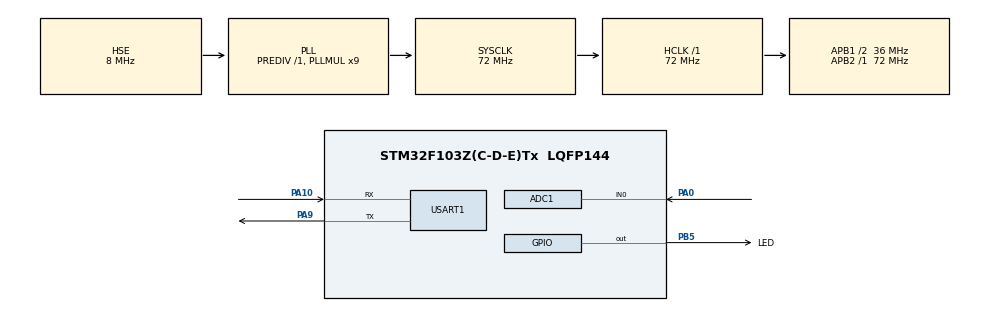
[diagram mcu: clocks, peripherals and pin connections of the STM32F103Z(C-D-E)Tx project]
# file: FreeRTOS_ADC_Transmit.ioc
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ADC1.Channel-1\#ChannelRegularConversion=ADC_CHANNEL_0
ADC1.ContinuousConvMode=ENABLE
ADC1.EnableRegularConversion=ENABLE
ADC1.NbrOfConversionFlag=1
ADC1.Rank-1\#ChannelRegularConversion=1
ADC1.SamplingTime-1\#ChannelRegularConversion=ADC_SAMPLETIME_1CYCLE_5
ADC1.master=1
FREERTOS.Queues01=Data_Queue,1,uint8_t,0,Dynamic,NULL,NULL
FREERTOS.Tasks01=defaultTask,0,128,StartDefaultTask,Default,NULL,Dynamic,NULL,NULL;ADC_Capture,-2,128,MyTask1,Default,NULL,Dynamic,NULL,NULL;Data_Trasmit,-3,128,MyTask2,Default,NULL,Dynamic,NULL,NULL
Mcu.Family=STM32F1
Mcu.Name=STM32F103Z(C-D-E)Tx
Mcu.Package=LQFP144
NVIC.PriorityGroup=NVIC_PRIORITYGROUP_4
NVIC.TIM1_UP_IRQn=true\:15\:0\:false\:false\:true\:false\:false\:true\:true
NVIC.TimeBase=TIM1_UP_IRQn
NVIC.TimeBaseIP=TIM1
NVIC.USART1_IRQn=true\:5\:0\:false\:false\:true\:true\:true\:true\:true
OSC_IN.Mode=HSE-External-Oscillator
OSC_IN.Signal=RCC_OSC_IN
OSC_OUT.Mode=HSE-External-Oscillator
OSC_OUT.Signal=RCC_OSC_OUT
PA0-WKUP.Signal=ADCx_IN0
PA10.Mode=Asynchronous
PA10.Signal=USART1_RX
PA13.Mode=Serial_Wire
PA13.Signal=SYS_JTMS-SWDIO
PA14.Mode=Serial_Wire
PA14.Signal=SYS_JTCK-SWCLK
PA9.Mode=Asynchronous
PA9.Signal=USART1_TX
PB5.GPIO_Label=LED
PB5.GPIO_Speed=GPIO_SPEED_FREQ_HIGH
PB5.PinState=GPIO_PIN_SET
PB5.Signal=GPIO_Output
ProjectManager.HeapSize=0x200
ProjectManager.StackSize=0x400
ProjectManager.TargetToolchain=MDK-ARM V5
RCC.ADCPresc=RCC_ADCPCLK2_DIV6
RCC.AHBFreq_Value=72000000
RCC.APB1CLKDivider=RCC_HCLK_DIV2
RCC.APB1Freq_Value=36000000
RCC.APB1TimFreq_Value=72000000
RCC.APB2Freq_Value=72000000
RCC.APB2TimFreq_Value=72000000
RCC.HCLKFreq_Value=72000000
RCC.PLLMUL=RCC_PLL_MUL9
RCC.PLLSourceVirtual=RCC_PLLSOURCE_HSE
RCC.SYSCLKFreq_VALUE=72000000
RCC.SYSCLKSource=RCC_SYSCLKSOURCE_PLLCLK
RCC.USBFreq_Value=72000000
SH.ADCx_IN0.0=ADC1_IN0,IN0
USART1.VirtualMode=VM_ASYNC
VP_FREERTOS_VS_CMSIS_V1.Mode=CMSIS_V1
VP_SYS_VS_tim1.Mode=TIM1
board=custom

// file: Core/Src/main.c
/* USER CODE BEGIN Header */
/**
  ******************************************************************************
  * @file           : main.c
  * @brief          : Main program body
  ******************************************************************************
  * @attention
  *
  * Copyright (c) 2024 STMicroelectronics.
  * All rights reserved.
  *
  * This software is licensed under terms that can be found in the LICENSE file
  * in the root directory of this software component.
  * If no LICENSE file comes with this software, it is provided AS-IS.
  *
  ******************************************************************************
  */
/* USER CODE END Header */
#include "main.h"
#include "cmsis_os.h"
#include "adc.h"
#include "usart.h"
#include "gpio.h"

/* USER CODE BEGIN Includes */
#include "stdio.h"//对printf进行重定向
/* USER CODE END Includes */

/* USER CODE BEGIN PTD */
int fputc(int ch, FILE *f)
{
  HAL_UART_Transmit(&huart1, (uint8_t *)&ch, 1, 0xffff);
  return ch;
}

/**
  * 函数功能: 重定向c库函数getchar,scanf到DEBUG_USARTx
  * 输入参数: 无
  * 返 回 值: 无
  * 说    明：无
  */
int fgetc(FILE *f)
{
  uint8_t ch = 0;
  HAL_UART_Receive(&huart1, &ch, 1, 0xffff);
  return ch;
}
/* USER CODE END PTD */

void SystemClock_Config(void);
void MX_FREERTOS_Init(void);

int main(void)
{

  /* MCU Configuration--------------------------------------------------------*/

  /* Reset of all peripherals, Initializes the Flash interface and the Systick. */
  HAL_Init();

  /* Configure the system clock */
  SystemClock_Config();

  /* Initialize all configured peripherals */
  MX_GPIO_Init();
  MX_ADC1_Init();
  MX_USART1_UART_Init();

  /* Call init function for freertos objects (in freertos.c) */
  MX_FREERTOS_Init();

  /* Start scheduler */
  osKernelStart();
  /* We should never get here as control is now taken by the scheduler */
  /* Infinite loop */
  while (1)
  {

    /* USER CODE BEGIN 3 */

		printf("hello\r\n");
  }
  /* USER CODE END 3 */
}

void SystemClock_Config(void)
{
  RCC_OscInitTypeDef RCC_OscInitStruct = {0};
  RCC_ClkInitTypeDef RCC_ClkInitStruct = {0};
  RCC_PeriphCLKInitTypeDef PeriphClkInit = {0};

  /** Initializes the RCC Oscillators according to the specified parameters
  * in the RCC_OscInitTypeDef structure.
  */
  RCC_OscInitStruct.OscillatorType = RCC_OSCILLATORTYPE_HSE;
  RCC_OscInitStruct.HSEState = RCC_HSE_ON;
  RCC_OscInitStruct.HSEPredivValue = RCC_HSE_PREDIV_DIV1;
  RCC_OscInitStruct.HSIState = RCC_HSI_ON;
  RCC_OscInitStruct.PLL.PLLState = RCC_PLL_ON;
  RCC_OscInitStruct.PLL.PLLSource = RCC_PLLSOURCE_HSE;
  RCC_OscInitStruct.PLL.PLLMUL = RCC_PLL_MUL9;
  if (HAL_RCC_OscConfig(&RCC_OscInitStruct) != HAL_OK)
  {
    Error_Handler();
  }

  /** Initializes the CPU, AHB and APB buses clocks
  */
  RCC_ClkInitStruct.ClockType = RCC_CLOCKTYPE_HCLK|RCC_CLOCKTYPE_SYSCLK
                              |RCC_CLOCKTYPE_PCLK1|RCC_CLOCKTYPE_PCLK2;
  RCC_ClkInitStruct.SYSCLKSource = RCC_SYSCLKSOURCE_PLLCLK;
  RCC_ClkInitStruct.AHBCLKDivider = RCC_SYSCLK_DIV1;
  RCC_ClkInitStruct.APB1CLKDivider = RCC_HCLK_DIV2;
  RCC_ClkInitStruct.APB2CLKDivider = RCC_HCLK_DIV1;

  if (HAL_RCC_ClockConfig(&RCC_ClkInitStruct, FLASH_LATENCY_2) != HAL_OK)
  {
    Error_Handler();
  }
  PeriphClkInit.PeriphClockSelection = RCC_PERIPHCLK_ADC;
  PeriphClkInit.AdcClockSelection = RCC_ADCPCLK2_DIV6;
  if (HAL_RCCEx_PeriphCLKConfig(&PeriphClkInit) != HAL_OK)
  {
    Error_Handler();
  }
}

void HAL_TIM_PeriodElapsedCallback(TIM_HandleTypeDef *htim)
{
  if (htim->Instance == TIM1) {
    HAL_IncTick();
  }
}

void Error_Handler(void)
{
  __disable_irq();
  while (1)
  {
  }
}

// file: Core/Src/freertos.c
/* USER CODE BEGIN Header */
/**
  ******************************************************************************
  * File Name          : freertos.c
  * Description        : Code for freertos applications
  ******************************************************************************
  * @attention
  *
  * Copyright (c) 2024 STMicroelectronics.
  * All rights reserved.
  *
  * This software is licensed under terms that can be found in the LICENSE file
  * in the root directory of this software component.
  * If no LICENSE file comes with this software, it is provided AS-IS.
  *
  ******************************************************************************
  */
/* USER CODE END Header */

#include "FreeRTOS.h"
#include "task.h"
#include "main.h"
#include "cmsis_os.h"

/* USER CODE BEGIN Includes */
#include "adc.h"
#include "usart.h"
#include "string.h"
/* USER CODE END Includes */

/* USER CODE BEGIN PD */
#define FRAME_HEADER 0xAA
#define FRAME_TAIL 0x55

/* USER CODE END PD */

/* USER CODE BEGIN PM */
void CreateDataFrame(uint16_t *adc_value, uint8_t *buffer);
/* USER CODE END PM */

osThreadId defaultTaskHandle;
osThreadId ADC_CaptureHandle;
osThreadId Data_TrasmitHandle;
osMessageQId Data_QueueHandle;

void StartDefaultTask(void const * argument);
void MyTask1(void const * argument);
void MyTask2(void const * argument);

void MX_FREERTOS_Init(void); /* (MISRA C 2004 rule 8.1) */

/* GetIdleTaskMemory prototype (linked to static allocation support) */
void vApplicationGetIdleTaskMemory( StaticTask_t **ppxIdleTaskTCBBuffer, StackType_t **ppxIdleTaskStackBuffer, uint32_t *pulIdleTaskStackSize );

/* USER CODE BEGIN GET_IDLE_TASK_MEMORY */
static StaticTask_t xIdleTaskTCBBuffer;
static StackType_t xIdleStack[configMINIMAL_STACK_SIZE];

void vApplicationGetIdleTaskMemory( StaticTask_t **ppxIdleTaskTCBBuffer, StackType_t **ppxIdleTaskStackBuffer, uint32_t *pulIdleTaskStackSize )
{
  *ppxIdleTaskTCBBuffer = &xIdleTaskTCBBuffer;
  *ppxIdleTaskStackBuffer = &xIdleStack[0];
  *pulIdleTaskStackSize = configMINIMAL_STACK_SIZE;
  /* place for user code */
}
/* USER CODE END GET_IDLE_TASK_MEMORY */

void MX_FREERTOS_Init(void) {

  /* Create the queue(s) */
  /* definition and creation of Data_Queue */
  osMessageQDef(Data_Queue, 1, uint8_t[22]);
  Data_QueueHandle = osMessageCreate(osMessageQ(Data_Queue), NULL);

  /* Create the thread(s) */
  /* definition and creation of defaultTask */
  osThreadDef(defaultTask, StartDefaultTask, osPriorityNormal, 0, 128);
  defaultTaskHandle = osThreadCreate(osThread(defaultTask), NULL);

  /* definition and creation of ADC_Capture */
  osThreadDef(ADC_Capture, MyTask1, osPriorityLow, 0, 128);
  ADC_CaptureHandle = osThreadCreate(osThread(ADC_Capture), NULL);

  /* definition and creation of Data_Trasmit */
  osThreadDef(Data_Trasmit, MyTask2, osPriorityIdle, 0, 128);
  Data_TrasmitHandle = osThreadCreate(osThread(Data_Trasmit), NULL);

}

void StartDefaultTask(void const * argument)
{
  for(;;)
  {
    osDelay(1);
  }
}

void MyTask1(void const * argument)
{
  /* USER CODE BEGIN MyTask1 */
  /* Infinite loop */
   uint16_t adc_value[10];
	 uint8_t adc_buffer[22]={0};
    while (1)
		{
			HAL_GPIO_WritePin(LED_GPIO_Port, LED_Pin, GPIO_PIN_SET);
        HAL_ADC_Start(&hadc1);
        HAL_ADC_PollForConversion(&hadc1, 100);
			for(int i=0;i<10;i++)
			{
					adc_value[i] = HAL_ADC_GetValue(&hadc1);

			}
				CreateDataFrame(adc_value, adc_buffer);
        xQueueSend(Data_QueueHandle,adc_buffer, portMAX_DELAY);

        vTaskDelay(pdMS_TO_TICKS(1000));
    }
  /* USER CODE END MyTask1 */
}

void MyTask2(void const * argument)
{
  /* USER CODE BEGIN MyTask2 */
  /* Infinite loop */
		uint8_t adc_ans[22];
    while (1)
		{
			  HAL_GPIO_WritePin(LED_GPIO_Port, LED_Pin, GPIO_PIN_RESET);
        xQueueReceive(Data_QueueHandle,adc_ans, portMAX_DELAY);

//			for(int i=0;i<4;i++)
//			{
//					printf("%x\r\n",adc_ans[i]);
//			}
//
				//memcpy(adc_ans,&adc_value,4);
        HAL_UART_Transmit(&huart1, (uint8_t *)adc_ans, sizeof(adc_ans)/sizeof(uint8_t), HAL_MAX_DELAY);
			  vTaskDelay(pdMS_TO_TICKS(1000));
		}
  /* USER CODE END MyTask2 */
}

/* USER CODE BEGIN Application */
void CreateDataFrame(uint16_t *adc_value, uint8_t *buffer) {
    // 添加帧头
    buffer[0] = FRAME_HEADER;
    buffer[1] = FRAME_TAIL;
    // 添加数据（假设数据为 2 字节）
		for(int i=0,j=1;i<10;i+=1,j+=2){

			buffer[j+1] = (uint8_t)(adc_value[i] & 0xFF);        // 低字节
			buffer[j+2] = (uint8_t)((adc_value[i] >> 8) & 0xFF); // 高字节

		}

    // 添加帧尾

}
/* USER CODE END Application */
